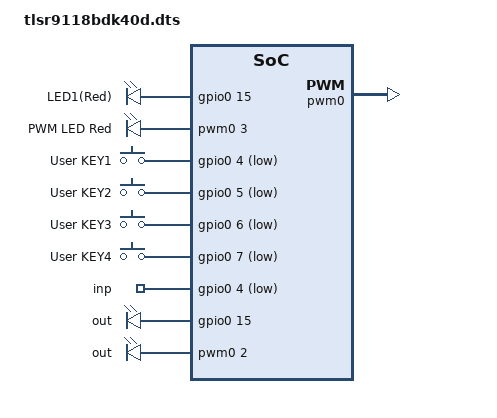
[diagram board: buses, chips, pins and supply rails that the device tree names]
/*
 * Copyright (c) 2024 Telink Semiconductor
 *
 * SPDX-License-Identifier: Apache-2.0
 */

/dts-v1/;

#include "tlsr9118bdk40d-common.dtsi"

/ {

	aliases {
		led0 = &led1;
		sw2 = &key_3;
		sw3 = &key_4;
	};

	leds {
		/delete-node/ led_1;

		compatible = "gpio-leds";
		led1: led1 {
			gpios = <&gpio0 15 GPIO_ACTIVE_HIGH>;
			label = "LED1(Red)";
		};
	};

	pwm_leds {
		compatible = "pwm-leds";

		pwm_led_red: pwm_led_0 {
			pwms = <&pwm0 3 PWM_MSEC(1) PWM_POLARITY_NORMAL>;
			label = "PWM LED Red";
		};
	};

	keys {
		compatible = "gpio-keys";

		key_1: button_1 {
			label = "User KEY1";
			gpios = <&gpio0 4 (GPIO_ACTIVE_LOW | GPIO_PULL_UP)>;
		};
		key_2: button_2 {
			label = "User KEY2";
			gpios = <&gpio0 5 (GPIO_ACTIVE_LOW | GPIO_PULL_UP)>;
		};
		key_3: button_3 {
			label = "User KEY3";
			gpios = <&gpio0 6 (GPIO_ACTIVE_LOW | GPIO_PULL_UP)>;
		};

		key_4: button_4 {
			label = "User KEY4";
			gpios = <&gpio0 7 (GPIO_ACTIVE_LOW | GPIO_PULL_UP)>;
		};
	};

	/* used in Matter */

	key_pool {
		compatible = "gpio-keys";

		inp {
			gpios = <&gpio0 4 (GPIO_ACTIVE_LOW | GPIO_PULL_UP)>,
					<&gpio0 5 (GPIO_ACTIVE_LOW | GPIO_PULL_UP)>,
					<&gpio0 6 (GPIO_ACTIVE_LOW | GPIO_PULL_UP)>,
					<&gpio0 7 (GPIO_ACTIVE_LOW | GPIO_PULL_UP)>;
		};
	};

	led_pool{
		compatible = "gpio-leds";

		out {
			gpios = <&gpio0 15 GPIO_ACTIVE_HIGH>;
		};
	};

	pwm_pool {
		compatible = "pwm-leds";
		out {
			pwms = <&pwm0 2 PWM_MSEC(1) PWM_POLARITY_NORMAL>,
			       <&pwm0 3 PWM_MSEC(1) PWM_POLARITY_NORMAL>,
			       <&pwm0 1 PWM_MSEC(1) PWM_POLARITY_NORMAL>;
		};
	};
};

&pwm0 {
	/delete-property/ pinctrl-ch4;

	status = "okay";
	pinctrl-ch3 = <&pwm_ch3_p18_default>;
	pinctrl-ch2 = <&pwm_ch2_p17_default>;
	pinctrl-ch1 = <&pwm_ch1_p16_default>;
};
